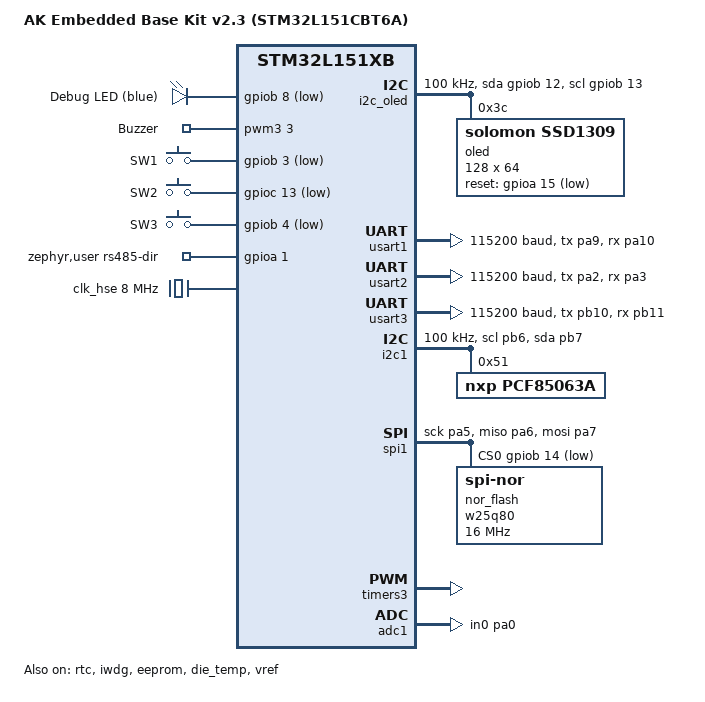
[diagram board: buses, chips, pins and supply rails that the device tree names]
/*
 * Copyright (c) 2026 AK Embedded Base Kit Zephyr port
 *
 * SPDX-License-Identifier: Apache-2.0
 *
 * AK Embedded Base Kit v2.3 -- STM32L151CBT6A (LQFP48, 128K flash / 32K SRAM)
 * See ../../../docs/SCHEMATIC.md for the full net-by-net hardware description.
 */

/dts-v1/;
#include <st/l1/stm32l151Xb-a.dtsi>
#include <st/l1/stm32l151c(6-8-b)txa-pinctrl.dtsi>
#include <zephyr/dt-bindings/input/input-event-codes.h>
#include <zephyr/dt-bindings/i2c/i2c.h>
#include <zephyr/dt-bindings/pwm/pwm.h>

/ {
	model = "AK Embedded Base Kit v2.3 (STM32L151CBT6A)";
	compatible = "ak,ak-base-kit";

	chosen {
		zephyr,console = &usart1;
		zephyr,shell-uart = &usart1;
		zephyr,sram = &sram0;
		zephyr,flash = &flash0;
		zephyr,display = &oled;
		/* Only honoured when CONFIG_USE_DT_CODE_PARTITION=y; set that if
		 * the application writes to storage_partition, so the linker
		 * cannot grow the image into it.
		 */
		zephyr,code-partition = &slot0_partition;
	};

	leds: leds {
		compatible = "gpio-leds";

		/* D3 blue "LED Debug": +3V3 -> R10 1k -> D3 -> PB8 (sink) */
		blue_led_dbg: led_dbg {
			gpios = <&gpiob 8 GPIO_ACTIVE_LOW>;
			label = "Debug LED (blue)";
		};
	};

	pwmbuzzer: pwm-buzzer {
		compatible = "pwm-leds";

		/* L1 MLT-8530 via Q1 MMBT3904 NPN low-side, base from PB0 */
		buzzer_pwm: buzzer_pwm {
			pwms = <&pwm3 3 PWM_MSEC(1) PWM_POLARITY_NORMAL>;
			label = "Buzzer";
		};
	};

	gpio_keys {
		compatible = "gpio-keys";
		polling-mode;

		/* S1..S3 TS-1102S: 10k pull-up + 100R series + 100nF, active low */
		user_button_1: button_1 {
			label = "SW1";
			gpios = <&gpiob 3 (GPIO_ACTIVE_LOW | GPIO_PULL_UP)>;
			zephyr,code = <INPUT_KEY_0>;
		};

		user_button_2: button_2 {
			label = "SW2";
			gpios = <&gpioc 13 (GPIO_ACTIVE_LOW | GPIO_PULL_UP)>;
			zephyr,code = <INPUT_KEY_1>;
		};

		user_button_3: button_3 {
			label = "SW3";
			gpios = <&gpiob 4 (GPIO_ACTIVE_LOW | GPIO_PULL_UP)>;
			zephyr,code = <INPUT_KEY_2>;
		};
	};

	/*
	 * The SSD1309 OLED hangs off PB12/PB13, which have no hardware I2C
	 * alternate function on this part, so the bus has to be bit-banged.
	 * R5/R6 (10k to +3V3) are the bus pull-ups.
	 */
	i2c_oled: i2c-oled {
		compatible = "gpio-i2c";
		status = "okay";
		scl-gpios = <&gpiob 13 (GPIO_OPEN_DRAIN | GPIO_PULL_UP)>;
		sda-gpios = <&gpiob 12 (GPIO_OPEN_DRAIN | GPIO_PULL_UP)>;
		clock-frequency = <I2C_BITRATE_STANDARD>;
		#address-cells = <1>;
		#size-cells = <0>;

		oled: ssd1309@3c {
			compatible = "solomon,ssd1309";
			status = "okay";
			reg = <0x3c>;
			width = <128>;
			height = <64>;
			segment-offset = <0>;
			page-offset = <0>;
			display-offset = <0>;
			multiplex-ratio = <63>;
			segment-remap;
			com-invdir;
			prechargep = <0x22>;
			/* PA15 -> R41 0R -> LCD_RES, 10k pull-up to +3V3 */
			reset-gpios = <&gpioa 15 GPIO_ACTIVE_LOW>;
		};
	};

	aliases {
		led0 = &blue_led_dbg;
		sw0 = &user_button_1;
		sw1 = &user_button_2;
		sw2 = &user_button_3;
		pwm-led0 = &buzzer_pwm;
		buzzer = &buzzer_pwm;
		rtc = &pcf85063a;
		spi-flash0 = &nor_flash;
		eeprom-0 = &eeprom;
		watchdog0 = &iwdg;
		die-temp0 = &die_temp;
		volt-sensor0 = &vref;
	};

	zephyr,user {
		/* U7 SP3485: DE (pin 3) and nRE (pin 2) are tied together */
		rs485-dir-gpios = <&gpioa 1 GPIO_ACTIVE_HIGH>;
	};
};

/* ---------------------------------------------------------------- clocks */

&clk_hse {
	clock-frequency = <DT_FREQ_M(8)>;	/* X1, 8 MHz crystal on PH0/PH1 */
	status = "okay";
};

&clk_lsi {
	status = "okay";	/* no 32.768 kHz crystal fitted on the MCU */
};

&pll {
	/* 8 MHz * 8 = 64 MHz VCO (<= 96 MHz, range 1), / 2 = 32 MHz SYSCLK */
	mul = <8>;
	div = <2>;
	clocks = <&clk_hse>;
	status = "okay";
};

&rcc {
	clocks = <&pll>;
	clock-frequency = <DT_FREQ_M(32)>;
	ahb-prescaler = <1>;
	apb1-prescaler = <1>;
	apb2-prescaler = <1>;
};

/* ------------------------------------------------------------------ uart */

/* Console: PA9/PA10 -> SB1/SB2 -> CH340E -> USB Type-C (J1) */
&usart1 {
	pinctrl-0 = <&usart1_tx_pa9 &usart1_rx_pa10>;
	pinctrl-names = "default";
	current-speed = <115200>;
	status = "okay";
};

/* RS-485: PA2/PA3 -> U7 SP3485 -> J9/J10/J11 (A/B) */
&usart2 {
	pinctrl-0 = <&usart2_tx_pa2 &usart2_rx_pa3>;
	pinctrl-names = "default";
	current-speed = <115200>;
	status = "okay";

	modbus0: modbus-serial {
		compatible = "zephyr,modbus-serial";
		status = "disabled";
		de-gpios = <&gpioa 1 GPIO_ACTIVE_HIGH>;
	};
};

/* Grove (J4/J5) + Qwiic UART3 breakout: PB10/PB11 */
&usart3 {
	pinctrl-0 = <&usart3_tx_pb10 &usart3_rx_pb11>;
	pinctrl-names = "default";
	current-speed = <115200>;
	status = "okay";
};

/* ------------------------------------------------------------------- i2c */

/* On-board RTC + Grove (J7/J8) and Qwiic I2C. R3/R4 = 10k pull-ups. */
&i2c1 {
	pinctrl-0 = <&i2c1_scl_pb6 &i2c1_sda_pb7>;
	pinctrl-names = "default";
	clock-frequency = <I2C_BITRATE_STANDARD>;
	status = "okay";

	pcf85063a: pcf85063a@51 {
		compatible = "nxp,pcf85063a";
		status = "okay";
		reg = <0x51>;
	};
};

/* ------------------------------------------------------------------- spi */

/*
 * SPI1 is shared between the on-board NOR flash (CS = PB14) and the
 * expansion header J6 (CS = PA4, for an optional W5500 / nRF24L01+).
 * PA5 has a 22R series resistor (R2) in the SCK line.
 */
&spi1 {
	pinctrl-0 = <&spi1_sck_pa5 &spi1_miso_pa6 &spi1_mosi_pa7>;
	pinctrl-names = "default";
	cs-gpios = <&gpiob 14 GPIO_ACTIVE_LOW>,	/* U2 W25Q80 */
		   <&gpioa 4 GPIO_ACTIVE_LOW>;	/* J6 expansion */
	status = "okay";

	nor_flash: w25q80@0 {
		compatible = "jedec,spi-nor";
		status = "okay";
		reg = <0>;
		spi-max-frequency = <16000000>;
		jedec-id = [ef 40 14];
		size = <DT_SIZE_M(8)>;	/* 8 Mbit = 1 MiB */
		has-dpd;
		t-enter-dpd = <3000>;
		t-exit-dpd = <30000>;
	};
};

/* ------------------------------------------------------------- timers/pwm */

&timers3 {
	st,prescaler = <31>;	/* 32 MHz / (31 + 1) = 1 MHz tick */
	status = "okay";

	pwm3: pwm {
		pinctrl-0 = <&tim3_ch3_pb0>;
		pinctrl-names = "default";
		status = "okay";
	};
};

/* ------------------------------------------------------------------- misc */

&rtc {
	clocks = <&rcc STM32_CLOCK(APB1, 28)>,
		 <&rcc STM32_SRC_LSI RTC_SEL(2)>;
	status = "okay";
};

&iwdg {
	status = "okay";
};

&eeprom {
	status = "okay";
};

&adc1 {
	pinctrl-0 = <&adc_in0_pa0>;
	pinctrl-names = "default";
	st,adc-clock-source = "ASYNC";
	st,adc-prescaler = <4>;
	status = "okay";
};

&die_temp {
	status = "okay";
};

&vref {
	status = "okay";
};

&dma1 {
	status = "okay";
};

/* --------------------------------------------------------- flash layout */

&flash0 {
	partitions {
		compatible = "fixed-partitions";
		#address-cells = <1>;
		#size-cells = <1>;

		/* No bootloader: the application owns the first 120K. */
		slot0_partition: partition@0 {
			label = "image-0";
			reg = <0x00000000 DT_SIZE_K(120)>;
		};

		storage_partition: partition@1e000 {
			label = "storage";
			reg = <0x0001e000 DT_SIZE_K(8)>;
		};
	};
};
